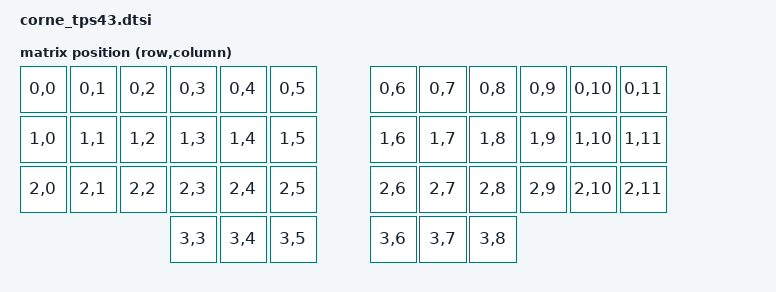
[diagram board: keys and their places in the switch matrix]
#include <dt-bindings/zmk/matrix_transform.h>
#include <input/processors.dtsi>
#include <input/processors/code_mapper.dtsi>
#include <dt-bindings/zmk/input_transform.h>
#include "../../../charybdis_parameters.h"

/ {
    chosen {
        zmk,kscan = &kscan0;
        zmk,matrix_transform = &default_transform;
    };

    default_transform: keymap_transform_0 {
        compatible = "zmk,matrix-transform";
        columns = <12>;
        rows = <4>;
        map = <
RC(0,0) RC(0,1) RC(0,2) RC(0,3) RC(0,4) RC(0,5)  RC(0,6) RC(0,7) RC(0,8) RC(0,9) RC(0,10) RC(0,11)
RC(1,0) RC(1,1) RC(1,2) RC(1,3) RC(1,4) RC(1,5)  RC(1,6) RC(1,7) RC(1,8) RC(1,9) RC(1,10) RC(1,11)
RC(2,0) RC(2,1) RC(2,2) RC(2,3) RC(2,4) RC(2,5)  RC(2,6) RC(2,7) RC(2,8) RC(2,9) RC(2,10) RC(2,11)
                        RC(3,3) RC(3,4) RC(3,5)  RC(3,6) RC(3,7) RC(3,8)
        >;
    };

    kscan0: kscan {
        diode-direction = "col2row";
    };

    splits {
        #address-cells = <1>;
        #size-cells = <0>;

        touchpad_split: touchpad_split@0 {
            compatible = "zmk,input-split";
            reg = <0>;
            status = "disabled";
        };

        touchpad_right_split: touchpad_right_split@1 {
            compatible = "zmk,input-split";
            reg = <1>;
            status = "disabled";
        };
    };

    touchpad_listener: touchpad_listener {
        compatible = "zmk,input-listener";
        status = "disabled";
        device = <&touchpad_split>;
        input-processors = <&zip_xy_swap_mapper &zip_xy_scaler 1 CURSOR_DIVISOR>;

        scroll_override {
            layers = <RAISE LOWER>;
            input-processors = <
                &zip_xy_swap_mapper
                &zip_xy_to_scroll_mapper
                &zip_scroll_transform INPUT_TRANSFORM_Y_INVERT
                &zip_scroll_scaler 1 SCROLL_DIVISOR
            >;
        };

snipe_override {
            layers = <SNIPE_LAYER>;
            input-processors = <&zip_xy_swap_mapper &zip_xy_scaler 1 SNIPE_DIVISOR>;
        };
    };

    touchpad_right_listener: touchpad_right_listener {
        compatible = "zmk,input-listener";
        status = "disabled";
        device = <&touchpad_right_split>;
        input-processors = <&zip_xy_swap_mapper &zip_xy_scaler 1 CURSOR_DIVISOR>;

        scroll_override {
            layers = <RAISE LOWER>;
            input-processors = <
                &zip_xy_swap_mapper
                &zip_xy_to_scroll_mapper
                &zip_scroll_transform INPUT_TRANSFORM_Y_INVERT
                &zip_scroll_scaler 1 SCROLL_DIVISOR
            >;
        };

        snipe_override {
            layers = <SNIPE_LAYER>;
            input-processors = <&zip_xy_swap_mapper &zip_xy_scaler 1 SNIPE_DIVISOR>;
        };
    };
};
